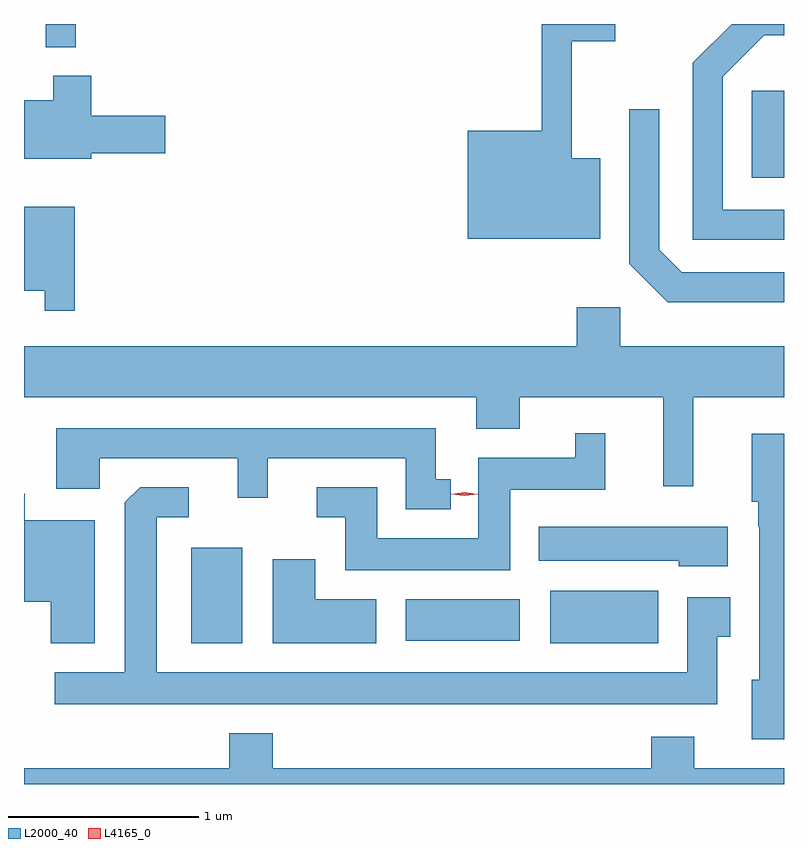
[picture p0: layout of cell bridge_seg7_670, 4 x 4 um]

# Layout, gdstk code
import gdstk
lib = gdstk.Library(unit=1e-6, precision=1e-09)
def R(c, l, rs):  # rectangles x0, y0, x1, y1
    for r in rs: c.add(gdstk.rectangle(r[:2], r[2:], *l))
def P(c, l, *ps):  # polygons
    for p in ps: c.add(gdstk.Polygon(p, *l))
L2000_40 = (2000, 40)
L4165_0 = (4165, 0)

bridge_seg7_670 = lib.new_cell('bridge_seg7_670')
R(bridge_seg7_670, L2000_40, [(828.751,1690.821,829.019,1691.324), (830.641,1690.821,831.209,1691.099), (829.881,1690.836,830.479,1691.054), (831.701,1693.271,831.871,1693.729), (827.986,1693.958,828.144,1694.081)])
P(bridge_seg7_670, L2000_40, [(830.904,1693.374),(830.754,1693.374),(830.754,1693.991),(830.983,1693.991),(830.983,1694.081),(830.596,1694.081),(830.596,1693.519),(830.206,1693.519),(830.206,1692.951),(830.904,1692.951)],
  [(831.871,1693.104),(831.549,1693.104),(831.549,1693.804),(831.767,1694.021),(831.871,1694.021),(831.871,1694.081),(831.596,1694.081),(831.391,1693.877),(831.391,1692.946),(831.871,1692.946)],
  [(828.224,1693.401),(828.614,1693.401),(828.614,1693.599),(828.224,1693.599),(828.224,1693.809),(828.026,1693.809),(828.026,1693.679),(827.871,1693.679),(827.871,1693.371),(828.224,1693.371)],
  [(831.871,1692.774),(831.332,1692.774),(831.214,1692.892),(831.214,1693.633),(831.056,1693.633),(831.056,1692.819),(831.259,1692.616),(831.871,1692.616)],
  [(828.139,1693.119),(827.871,1693.119),(827.871,1692.676),(827.981,1692.676),(827.981,1692.573),(828.139,1692.573)],
  [(831.394,1692.116),(831.871,1692.116),(831.871,1692.384),(831.009,1692.384),(831.009,1692.589),(830.781,1692.589),(830.781,1692.384),(827.871,1692.384),(827.871,1692.116),(830.251,1692.116),(830.251,1691.951),(830.479,1691.951),(830.479,1692.116),(831.236,1692.116),(831.236,1691.648),(831.394,1691.648)],
  [(830.118,1691.684),(830.039,1691.684),(830.039,1691.954),(828.041,1691.954),(828.041,1691.636),(828.269,1691.636),(828.269,1691.796),(828.996,1691.796),(828.996,1691.588),(829.154,1691.588),(829.154,1691.796),(829.881,1691.796),(829.881,1691.526),(830.118,1691.526)],
  [(830.429,1691.631),(830.929,1691.631),(830.929,1691.928),(830.771,1691.928),(830.771,1691.799),(830.261,1691.799),(830.261,1691.374),(829.729,1691.374),(829.729,1691.644),(829.413,1691.644),(829.413,1691.486),(829.561,1691.486),(829.561,1691.206),(830.429,1691.206)],
  [(831.871,1691.924),(831.701,1691.924),(831.701,1691.566),(831.736,1691.566),(831.736,1691.435),(831.741,1691.435),(831.741,1690.629),(831.701,1690.629),(831.701,1690.316),(831.871,1690.316)],
  [(831.519,1690.856),(831.589,1690.856),(831.589,1691.064),(831.361,1691.064),(831.361,1690.669),(828.569,1690.669),(828.569,1691.486),(828.738,1691.486),(828.738,1691.644),(828.482,1691.644),(828.401,1691.564),(828.401,1690.669),(828.033,1690.669),(828.033,1690.501),(831.519,1690.501)],
  [(828.244,1691.469),(827.874,1691.469),(827.874,1691.609),(827.871,1691.609),(827.871,1691.041),(828.011,1691.041),(828.011,1690.821),(828.244,1690.821)],
  [(831.574,1691.434),(830.581,1691.434),(830.581,1691.256),(831.316,1691.256),(831.316,1691.226),(831.574,1691.226)],
  [(829.724,1691.054),(829.404,1691.054),(829.404,1691.264),(829.181,1691.264),(829.181,1690.821),(829.724,1690.821)],
  [(831.871,1690.164),(831.399,1690.164),(831.399,1690.329),(831.171,1690.329),(831.171,1690.164),(829.179,1690.164),(829.179,1690.349),(828.951,1690.349),(828.951,1690.164),(827.871,1690.164),(827.871,1690.081),(831.871,1690.081)])
P(bridge_seg7_670, L4165_0, [(830.188,1691.597),(830.119,1691.606),(830.119,1691.607),(830.119,1691.607),(830.188,1691.616),(830.258,1691.607),(830.258,1691.606),(830.258,1691.606)])

lib.write_gds('bridge_seg7_670.gds')
